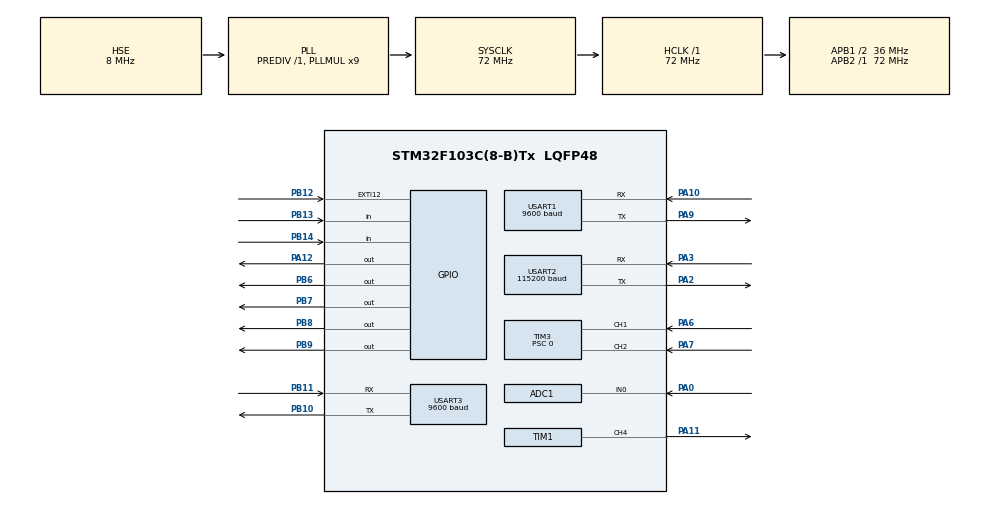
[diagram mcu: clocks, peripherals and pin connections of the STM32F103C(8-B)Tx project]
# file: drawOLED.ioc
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ADC1.Channel-0\#ChannelRegularConversion=ADC_CHANNEL_0
ADC1.NbrOfConversionFlag=1
ADC1.Rank-0\#ChannelRegularConversion=1
ADC1.SamplingTime-0\#ChannelRegularConversion=ADC_SAMPLETIME_1CYCLE_5
ADC1.master=1
FREERTOS.INCLUDE_xTaskAbortDelay=0
FREERTOS.INCLUDE_xTaskGetHandle=0
FREERTOS.Tasks01=OLED_Draw,-1,256,DrawPic,Default,NULL,Dynamic,NULL,NULL;KeyTask,-1,400,Key,Default,NULL,Dynamic,NULL,NULL;AOLED_Draw,-1,256,ADraw_Pic,Default,NULL,Dynamic,NULL,NULL;AKeyTask,-1,400,AKey,Default,NULL,Dynamic,NULL,NULL;JudgeWin,2,256,Judgewhowin,Default,NULL,Dynamic,NULL,NULL;BuzzerPlay,0,128,Playmusic,Default,NULL,Dynamic,NULL,NULL;WakeUp,2,128,GetwakeupFlag,Default,NULL,Dynamic,NULL,NULL
FREERTOS.configCHECK_FOR_STACK_OVERFLOW=2
FREERTOS.configTICK_RATE_HZ=1000
FREERTOS.configTOTAL_HEAP_SIZE=11000
FREERTOS.configUSE_IDLE_HOOK=1
Mcu.Family=STM32F1
Mcu.Name=STM32F103C(8-B)Tx
Mcu.Package=LQFP48
NVIC.EXTI15_10_IRQn=true\:5\:0\:false\:false\:true\:true\:true\:true\:true
NVIC.PriorityGroup=NVIC_PRIORITYGROUP_4
NVIC.TIM4_IRQn=true\:15\:0\:false\:false\:true\:false\:false\:true\:true
NVIC.TimeBase=TIM4_IRQn
NVIC.TimeBaseIP=TIM4
NVIC.USART1_IRQn=true\:5\:0\:false\:false\:true\:true\:true\:true\:true
NVIC.USART3_IRQn=true\:5\:0\:true\:false\:true\:true\:true\:true\:true
PA0-WKUP.Signal=ADCx_IN0
PA10.Mode=Asynchronous
PA10.Signal=USART1_RX
PA11.Signal=S_TIM1_CH4
PA12.GPIO_ModeDefaultOutputPP=GPIO_MODE_OUTPUT_OD
PA12.GPIO_PuPd=GPIO_NOPULL
PA12.PinState=GPIO_PIN_SET
PA12.Signal=GPIO_Output
PA13.Mode=Serial_Wire
PA13.Signal=SYS_JTMS-SWDIO
PA14.Mode=Serial_Wire
PA14.Signal=SYS_JTCK-SWCLK
PA2.Mode=Asynchronous
PA2.Signal=USART2_TX
PA3.GPIO_PuPd=GPIO_NOPULL
PA3.Mode=Asynchronous
PA3.Signal=USART2_RX
PA6.Signal=S_TIM3_CH1
PA7.Signal=S_TIM3_CH2
PA9.Mode=Asynchronous
PA9.Signal=USART1_TX
PB10.Mode=Asynchronous
PB10.Signal=USART3_TX
PB11.Mode=Asynchronous
PB11.Signal=USART3_RX
PB12.GPIO_ModeDefaultEXTI=GPIO_MODE_IT_RISING
PB12.GPIO_PuPd=GPIO_PULLDOWN
PB12.Signal=GPXTI12
PB13.GPIO_PuPd=GPIO_PULLDOWN
PB13.Signal=GPIO_Input
PB14.GPIO_PuPd=GPIO_PULLDOWN
PB14.Signal=GPIO_Input
PB6.GPIO_ModeDefaultOutputPP=GPIO_MODE_OUTPUT_OD
PB6.GPIO_PuPd=GPIO_NOPULL
PB6.PinState=GPIO_PIN_SET
PB6.Signal=GPIO_Output
PB7.GPIO_ModeDefaultOutputPP=GPIO_MODE_OUTPUT_OD
PB7.GPIO_PuPd=GPIO_NOPULL
PB7.PinState=GPIO_PIN_SET
PB7.Signal=GPIO_Output
PB8.GPIO_ModeDefaultOutputPP=GPIO_MODE_OUTPUT_OD
PB8.GPIO_PuPd=GPIO_NOPULL
PB8.PinState=GPIO_PIN_SET
PB8.Signal=GPIO_Output
PB9.GPIO_ModeDefaultOutputPP=GPIO_MODE_OUTPUT_OD
PB9.GPIO_PuPd=GPIO_NOPULL
PB9.PinState=GPIO_PIN_SET
PB9.Signal=GPIO_Output
PC14-OSC32_IN.Mode=LSE-External-Oscillator
PC14-OSC32_IN.Signal=RCC_OSC32_IN
PC15-OSC32_OUT.Mode=LSE-External-Oscillator
PC15-OSC32_OUT.Signal=RCC_OSC32_OUT
PD0-OSC_IN.Mode=HSE-External-Oscillator
PD0-OSC_IN.Signal=RCC_OSC_IN
PD1-OSC_OUT.Mode=HSE-External-Oscillator
PD1-OSC_OUT.Signal=RCC_OSC_OUT
ProjectManager.HeapSize=0x200
ProjectManager.StackSize=0x400
ProjectManager.TargetToolchain=MDK-ARM V5.32
RCC.ADCPresc=RCC_ADCPCLK2_DIV6
RCC.AHBFreq_Value=72000000
RCC.APB1CLKDivider=RCC_HCLK_DIV2
RCC.APB1Freq_Value=36000000
RCC.APB1TimFreq_Value=72000000
RCC.APB2Freq_Value=72000000
RCC.APB2TimFreq_Value=72000000
RCC.HCLKFreq_Value=72000000
RCC.PLLMUL=RCC_PLL_MUL9
RCC.PLLSourceVirtual=RCC_PLLSOURCE_HSE
RCC.SYSCLKFreq_VALUE=72000000
RCC.SYSCLKSource=RCC_SYSCLKSOURCE_PLLCLK
RCC.USBFreq_Value=72000000
SH.ADCx_IN0.0=ADC1_IN0,IN0
SH.S_TIM1_CH4.0=TIM1_CH4,PWM Generation4 CH4
SH.S_TIM3_CH1.0=TIM3_CH1,Encoder_Interface
SH.S_TIM3_CH2.0=TIM3_CH2,Encoder_Interface
TIM1.AutoReloadPreload=TIM_AUTORELOAD_PRELOAD_ENABLE
TIM1.Channel-PWM\ Generation4\ CH4=TIM_CHANNEL_4
TIM1.Period=999
TIM1.Prescaler=71
TIM3.EncoderMode=TIM_ENCODERMODE_TI12
TIM3.Period=65535
TIM3.Prescaler=0
USART1.BaudRate=9600
USART1.VirtualMode=VM_ASYNC
USART2.BaudRate=115200
USART2.VirtualMode=VM_ASYNC
USART3.BaudRate=9600
USART3.VirtualMode=VM_ASYNC
VP_FREERTOS_VS_CMSIS_V1.Mode=CMSIS_V1
VP_SYS_VS_tim4.Mode=TIM4
board=custom

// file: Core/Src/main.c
/* USER CODE BEGIN Header */
/**
  ******************************************************************************
  * @file           : main.c
  * @brief          : Main program body
  ******************************************************************************
  * @attention
  *
  * Copyright (c) 2025 STMicroelectronics.
  * All rights reserved.
  *
  * This software is licensed under terms that can be found in the LICENSE file
  * in the root directory of this software component.
  * If no LICENSE file comes with this software, it is provided AS-IS.
  *
  ******************************************************************************
  */
/* USER CODE END Header */
#include "main.h"
#include "cmsis_os.h"
#include "adc.h"
#include "tim.h"
#include "usart.h"
#include "gpio.h"

/* USER CODE BEGIN Includes */
#include "OLED.h"
#include "AOLED.h"
#include "winrecord.h"
#include "OLED_Data.h"
#include "String.h"
#include "Wifi.h"
/* USER CODE END Includes */

/* USER CODE BEGIN PV */

uint32_t Nowwakeup_Time = 0;
uint32_t Lastwakeup_Time = 0;
uint8_t Player1[32] = {0};
uint8_t Player2[32] = {0};
uint8_t ChoseDoneFlag = 0;
uint8_t AChoseDoneFlag = 0;
uint8_t Tempbuffer[4] = {0};
uint8_t ATempbuffer[4] = {0};
uint8_t OnePMode = 0;
uint8_t P1XMax = 0;
uint8_t ChoseModeFlag = 0;
extern uint8_t Buffer[4];
extern uint8_t ABuffer[4];

/* USER CODE END PV */

void SystemClock_Config(void);
void MX_FREERTOS_Init(void);

int main(void)
{

  /* MCU Configuration--------------------------------------------------------*/

  /* Reset of all peripherals, Initializes the Flash interface and the Systick. */
  HAL_Init();

  /* Configure the system clock */
  SystemClock_Config();

  /* Initialize all configured peripherals */
  MX_GPIO_Init();
  MX_TIM1_Init();
  MX_USART1_UART_Init();
  MX_ADC1_Init();
  MX_USART3_UART_Init();
  MX_USART2_UART_Init();
  MX_TIM3_Init();
  /* USER CODE BEGIN 2 */

	OLED_Init();
	AOLED_Init();
	HAL_TIM_PWM_Start(&htim1,TIM_CHANNEL_4);
	HAL_TIM_Encoder_Start(&htim3, TIM_CHANNEL_ALL);
	HAL_UART_IRQHandler(&huart3);
	HAL_UART_IRQHandler(&huart1);
	HAL_UART_IRQHandler(&huart2);
	HAL_NVIC_EnableIRQ(EXTI15_10_IRQn);

	WinRecord currentRecord;
  LoadWinRecord(&currentRecord);
	if (currentRecord.player1Wins == 0xFFFF || currentRecord.player2Wins == 0xFFFF) {
        currentRecord.player1Wins = 0;
				currentRecord.player2Wins = 0;
        SaveWinRecord(&currentRecord); // 首次保存默认值
    }
	while(!ChoseModeFlag)
	{
		OLED_Printf(10, 20, OLED_6X8, "Choose your Mode");
		AOLED_Printf(10, 20, AOLED_6X8, "Choose your Mode");
		OLED_Update();
		AOLED_Update();
		if(HAL_GPIO_ReadPin(GPIOB,GPIO_PIN_13) == SET)
		{
			HAL_Delay(50);
			if(HAL_GPIO_ReadPin(GPIOB,GPIO_PIN_13) == SET)
			{
				OnePMode = 1;//单人模式
				P1XMax = 238;
				ChoseModeFlag = 1;
			}
		}
		else if(HAL_GPIO_ReadPin(GPIOB,GPIO_PIN_14) == SET)
		{
			HAL_Delay(50);
			if(HAL_GPIO_ReadPin(GPIOB,GPIO_PIN_14) == SET)
			{
				OnePMode = 2;//双人模式
				P1XMax = 110;
				ChoseModeFlag = 1;
			}
		}
	}
	OLED_Clear();
	AOLED_Clear();
	OLED_Update();
	AOLED_Update();
	while(!ChoseDoneFlag)
	{
		OLED_Printf(10, 20, OLED_6X8, "P1 choose roles");
		AOLED_Printf(10, 20, AOLED_6X8, "P1 choose roles");
		OLED_Update();
		AOLED_Update();
		HAL_UART_Receive_IT(&huart3,Buffer,sizeof(Buffer));

		if(Buffer[0] == 0x20 && Buffer[3] == 0x61 )
		{
			if(Buffer[1] == 0x01 && Buffer[2] == 0x02)
			{
				memcpy(Player1, people1, 32);
				ChoseDoneFlag = 1;
				HAL_UART_Transmit(&huart3, Buffer, sizeof(Buffer), 100);
			}
			else if(Buffer[1] == 0x01 && Buffer[2] == 0x03)
			{
				memcpy(Player1, people2, 32);
				ChoseDoneFlag = 1;
				HAL_UART_Transmit(&huart3, Buffer, sizeof(Buffer), 100);
			}

		}
	}
	while(!AChoseDoneFlag)
	{
		OLED_Printf(10, 20, OLED_6X8, "P2 choose roles");
		AOLED_Printf(10, 20, AOLED_6X8, "P2 choose roles");
		OLED_Update();
		AOLED_Update();
		HAL_UART_Receive_IT(&huart1,ABuffer,sizeof(ABuffer));

		if(ABuffer[0] == 0x20 && ABuffer[3] == 0x61 )
		{
			if(ABuffer[1] == 0x02 && ABuffer[2] == 0x02)
			{
				memcpy(Player2, people1, 32);
				AChoseDoneFlag = 1;
				HAL_UART_Transmit(&huart1, ABuffer, sizeof(ABuffer), 100);
			}
			else if(ABuffer[1] == 0x02 && ABuffer[2] == 0x03)
			{
				memcpy(Player2, people2, 32);
				AChoseDoneFlag = 1;
				HAL_UART_Transmit(&huart1, ABuffer, sizeof(ABuffer), 100);
			}

		}
	}

	OLED_Clear();
	AOLED_Clear();
	OLED_Printf(44, 20, OLED_6X8, "Welcome");
	OLED_Printf(2, 40, OLED_6X8, "Press Button to start");
	OLED_Printf(46, 56, OLED_6X8, " %d : %d",(int)currentRecord.player1Wins,(int)currentRecord.player2Wins);
	OLED_Update();
	AOLED_Printf(44, 20, AOLED_6X8, "Welcome");
	AOLED_Printf(2, 40, AOLED_6X8, "Press Button to start");
	AOLED_Printf(46, 56, AOLED_6X8, " %d : %d",(int)currentRecord.player1Wins,(int)currentRecord.player2Wins);
	AOLED_Update();
	while(HAL_GPIO_ReadPin(GPIOB,GPIO_PIN_12) == RESET){}
  /* USER CODE END 2 */

  /* Call init function for freertos objects (in cmsis_os2.c) */
  MX_FREERTOS_Init();

  /* Start scheduler */
  osKernelStart();

  /* We should never get here as control is now taken by the scheduler */

  /* Infinite loop */
  while (1)
  {

  }
}

void SystemClock_Config(void)
{
  RCC_OscInitTypeDef RCC_OscInitStruct = {0};
  RCC_ClkInitTypeDef RCC_ClkInitStruct = {0};
  RCC_PeriphCLKInitTypeDef PeriphClkInit = {0};

  /** Initializes the RCC Oscillators according to the specified parameters
  * in the RCC_OscInitTypeDef structure.
  */
  RCC_OscInitStruct.OscillatorType = RCC_OSCILLATORTYPE_HSE;
  RCC_OscInitStruct.HSEState = RCC_HSE_ON;
  RCC_OscInitStruct.HSEPredivValue = RCC_HSE_PREDIV_DIV1;
  RCC_OscInitStruct.HSIState = RCC_HSI_ON;
  RCC_OscInitStruct.PLL.PLLState = RCC_PLL_ON;
  RCC_OscInitStruct.PLL.PLLSource = RCC_PLLSOURCE_HSE;
  RCC_OscInitStruct.PLL.PLLMUL = RCC_PLL_MUL9;
  if (HAL_RCC_OscConfig(&RCC_OscInitStruct) != HAL_OK)
  {
    Error_Handler();
  }

  /** Initializes the CPU, AHB and APB buses clocks
  */
  RCC_ClkInitStruct.ClockType = RCC_CLOCKTYPE_HCLK|RCC_CLOCKTYPE_SYSCLK
                              |RCC_CLOCKTYPE_PCLK1|RCC_CLOCKTYPE_PCLK2;
  RCC_ClkInitStruct.SYSCLKSource = RCC_SYSCLKSOURCE_PLLCLK;
  RCC_ClkInitStruct.AHBCLKDivider = RCC_SYSCLK_DIV1;
  RCC_ClkInitStruct.APB1CLKDivider = RCC_HCLK_DIV2;
  RCC_ClkInitStruct.APB2CLKDivider = RCC_HCLK_DIV1;

  if (HAL_RCC_ClockConfig(&RCC_ClkInitStruct, FLASH_LATENCY_2) != HAL_OK)
  {
    Error_Handler();
  }
  PeriphClkInit.PeriphClockSelection = RCC_PERIPHCLK_ADC;
  PeriphClkInit.AdcClockSelection = RCC_ADCPCLK2_DIV6;
  if (HAL_RCCEx_PeriphCLKConfig(&PeriphClkInit) != HAL_OK)
  {
    Error_Handler();
  }
}

void HAL_TIM_PeriodElapsedCallback(TIM_HandleTypeDef *htim)
{
  if (htim->Instance == TIM4) {
    HAL_IncTick();
  }
}

void Error_Handler(void)
{
  __disable_irq();
  while (1)
  {
  }
}

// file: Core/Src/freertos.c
/* USER CODE BEGIN Header */
/**
  ******************************************************************************
  * File Name          : freertos.c
  * Description        : Code for freertos applications
  ******************************************************************************
  * @attention
  *
  * Copyright (c) 2025 STMicroelectronics.
  * All rights reserved.
  *
  * This software is licensed under terms that can be found in the LICENSE file
  * in the root directory of this software component.
  * If no LICENSE file comes with this software, it is provided AS-IS.
  *
  ******************************************************************************
  */
/* USER CODE END Header */

#include "FreeRTOS.h"
#include "task.h"
#include "main.h"
#include "cmsis_os.h"

/* USER CODE BEGIN Includes */
#include "AOLED.h"
#include "OLED.h"
#include "Information.h"
#include <stdint.h>
#include <string.h>
#include "winrecord.h"
#include "usart.h"
#include "wifi.h"
#include "adc.h"
#include "tim.h"
#include "ShareStruct.h"

/* USER CODE END Includes */

/* USER CODE BEGIN Variables */
extern void SystemClock_Config(void);
uint8_t LowPowerFlag = 0;
WinRecord record;
extern uint8_t OnePMode;
extern uint8_t P1XMax;
uint8_t OnePState = 0;
int16_t PWM = 0;
uint8_t Buffer[4];
uint8_t ABuffer[4];
uint16_t LightControl = 0;
extern TIM_HandleTypeDef htim1;
extern UART_HandleTypeDef huart1;
QueueHandle_t AKeyQueue = NULL;
QueueHandle_t KeyQueue = NULL;
int16_t people1X = 0;
int16_t people1Y = 46;
int16_t people2X = 0;
int16_t people2Y = 46;
uint8_t temp = 0; //人物一跳跃高度计数变量
uint8_t Atemp = 0; //人物二跳跃高度计数变量
SemaphoreHandle_t P1Mutex = NULL; //人物一动作与画图互斥锁
SemaphoreHandle_t P2Mutex = NULL; //人物二动作与画图互斥锁
int HP = 3;
int AHP = 3;
extern Information platforms1[];
extern Information platforms2[];
extern Information platforms3[];
extern Information platforms4[];
extern Information platforms5[];
extern Information platforms6[];
extern Information thorns1[];
extern Information thorns4[];
extern Information thorns5[];
uint8_t gameover = 0; //双人模式人物一游戏结束标志
uint8_t Agameover = 0; //双人模式人物二游戏结束标志
uint8_t OPgameover = 0; //单人模式角色游戏结束标志
uint32_t lasttick = 0;
uint32_t nowtick = 0;
uint32_t Alasttick = 0;
uint32_t Anowtick = 0;
uint8_t State = 0; //关卡检测
static uint8_t Aflag = 0; //人物二第五关移动平台检测标志
static uint8_t flag = 0; //人物一第五关移动平台检测标志
Information moveplatform = {5,25,16,16};
Information Amoveplatform = {5,25,16,16};
Information OPM_moveplatform = {5,50,16,16};
int winround = 0; //人物一单局胜利关卡数
int Awinround = 0; //人物二单局胜利关卡数
uint8_t Whowin = 0; //判断是谁获胜
uint8_t wakeup_flag = 1; //屏幕唤醒标志
extern uint32_t Nowwakeup_Time;
extern uint32_t Lastwakeup_Time;
uint8_t RX_Buffer[4] = {0};
uint8_t ARX_Buffer[4] = {0};
extern uint8_t Player1[32];
extern uint8_t Player2[32];
/* USER CODE END Variables */
osThreadId OLED_DrawHandle;
osThreadId KeyTaskHandle;
osThreadId AOLED_DrawHandle;
osThreadId AKeyTaskHandle;
osThreadId JudgeWinHandle;
osThreadId BuzzerPlayHandle;
osThreadId WakeUpHandle;

/* USER CODE BEGIN FunctionPrototypes */
uint8_t JudgePlace(uint8_t peopleX, uint8_t peopleY ,Information *platforms ,uint8_t platformCount);
uint8_t JudgeThorns(uint8_t peopleX, uint8_t peopleY);
uint8_t Judgethrough (uint8_t peopleX, uint8_t peopleY ,Information *platforms ,uint8_t platformCount);
void LoadWinRecord(WinRecord *record);
void SaveWinRecord(WinRecord *record);
/* USER CODE END FunctionPrototypes */

void DrawPic(void const * argument);
void Key(void const * argument);
void ADraw_Pic(void const * argument);
void AKey(void const * argument);
void Judgewhowin(void const * argument);
void Playmusic(void const * argument);
void GetwakeupFlag(void const * argument);

void MX_FREERTOS_Init(void); /* (MISRA C 2004 rule 8.1) */

/* GetIdleTaskMemory prototype (linked to static allocation support) */
void vApplicationGetIdleTaskMemory( StaticTask_t **ppxIdleTaskTCBBuffer, StackType_t **ppxIdleTaskStackBuffer, uint32_t *pulIdleTaskStackSize );

/* Hook prototypes */
void vApplicationIdleHook(void);
void vApplicationStackOverflowHook(xTaskHandle xTask, signed char *pcTaskName);

/* USER CODE BEGIN 2 */
__weak void vApplicationIdleHook( void ) //低功耗启动函数
{
   /* vApplicationIdleHook() will only be called if configUSE_IDLE_HOOK is set
   to 1 in FreeRTOSConfig.h. It will be called on each iteration of the idle
   task. It is essential that code added to this hook function never attempts
   to block in any way (for example, call xQueueReceive() with a block time
   specified, or call vTaskDelay()). If the application makes use of the
   vTaskDelete() API function (as this demo application does) then it is also
   important that vApplicationIdleHook() is permitted to return to its calling
   function, because it is the responsibility of the idle task to clean up
   memory allocated by the kernel to any task that has since been deleted. */
	if(Nowwakeup_Time - Lastwakeup_Time > 15000)
	{
		LowPowerFlag = 1;
	}
	if(LowPowerFlag)
	{
		HAL_SuspendTick(); // 停止TIM4
    HAL_PWR_EnterSTOPMode(PWR_LOWPOWERREGULATOR_ON, PWR_STOPENTRY_WFI); //进入低功耗stop模式
    SystemClock_Config(); // 恢复时钟
    HAL_ResumeTick();    // 恢复 Tick 中断

		Lastwakeup_Time = Nowwakeup_Time;
	}

}
/* USER CODE END 2 */

/* USER CODE BEGIN 4 */
__weak void vApplicationStackOverflowHook(xTaskHandle xTask, signed char *pcTaskName) //栈溢出检测
{
   /* Run time stack overflow checking is performed if
   configCHECK_FOR_STACK_OVERFLOW is defined to 1 or 2. This hook function is
   called if a stack overflow is detected. */
	HAL_GPIO_WritePin(GPIOA,GPIO_PIN_12,GPIO_PIN_RESET);
}
/* USER CODE END 4 */

/* USER CODE BEGIN GET_IDLE_TASK_MEMORY */
static StaticTask_t xIdleTaskTCBBuffer;
static StackType_t xIdleStack[configMINIMAL_STACK_SIZE];

void vApplicationGetIdleTaskMemory( StaticTask_t **ppxIdleTaskTCBBuffer, StackType_t **ppxIdleTaskStackBuffer, uint32_t *pulIdleTaskStackSize )
{
  *ppxIdleTaskTCBBuffer = &xIdleTaskTCBBuffer;
  *ppxIdleTaskStackBuffer = &xIdleStack[0];
  *pulIdleTaskStackSize = configMINIMAL_STACK_SIZE;
  /* place for user code */
}
/* USER CODE END GET_IDLE_TASK_MEMORY */

void MX_FREERTOS_Init(void) {
  /* USER CODE BEGIN Init */
	lasttick = HAL_GetTick();
  /* USER CODE END Init */

  /* USER CODE BEGIN RTOS_QUEUES */
  /* add queues, ... */

	//xSemaphoreGive(P1YBinary);
	P1Mutex = xSemaphoreCreateMutex();
	KeyQueue = xQueueCreate(4,sizeof(KeyEvent_t));
	AKeyQueue = xQueueCreate(4,sizeof(KeyEvent_t));
	P2Mutex = xSemaphoreCreateMutex();

  /* USER CODE END RTOS_QUEUES */

  /* Create the thread(s) */
  /* definition and creation of OLED_Draw */
  osThreadDef(OLED_Draw, DrawPic, osPriorityBelowNormal, 0, 256);
  OLED_DrawHandle = osThreadCreate(osThread(OLED_Draw), NULL);

  /* definition and creation of KeyTask */
  osThreadDef(KeyTask, Key, osPriorityBelowNormal, 0, 400);
  KeyTaskHandle = osThreadCreate(osThread(KeyTask), NULL);

  /* definition and creation of AOLED_Draw */
  osThreadDef(AOLED_Draw, ADraw_Pic, osPriorityBelowNormal, 0, 256);
  AOLED_DrawHandle = osThreadCreate(osThread(AOLED_Draw), NULL);

  /* definition and creation of AKeyTask */
  osThreadDef(AKeyTask, AKey, osPriorityBelowNormal, 0, 400);
  AKeyTaskHandle = osThreadCreate(osThread(AKeyTask), NULL);

  /* definition and creation of JudgeWin */
  osThreadDef(JudgeWin, Judgewhowin, osPriorityHigh, 0, 256);
  JudgeWinHandle = osThreadCreate(osThread(JudgeWin), NULL);

  /* definition and creation of BuzzerPlay */
  osThreadDef(BuzzerPlay, Playmusic, osPriorityNormal, 0, 128);
  BuzzerPlayHandle = osThreadCreate(osThread(BuzzerPlay), NULL);

  /* definition and creation of WakeUp */
  osThreadDef(WakeUp, GetwakeupFlag, osPriorityHigh, 0, 128);
  WakeUpHandle = osThreadCreate(osThread(WakeUp), NULL);

}

void DrawPic(void const * argument) //人物一画图任务：判断现在游戏模式->亮度检测->判断关卡->画图
{
  /* USER CODE BEGIN DrawPic */

  /* Infinite loop */
  for(;;)
  {

				OLED_Update();
		if(wakeup_flag == 1 && OnePMode == 2)
		{
			 OLED_WriteCommand(0x81);
			LightControl = LightSensor_GetValue()*255/4095;
     OLED_WriteCommand(LightControl);

			if (xSemaphoreTake(P1Mutex, 100) == pdTRUE) {

				if(State == 0)
				{
					OLED_Clear();
				for (uint8_t i = 0; i < sizeof(platforms2)/sizeof(platforms2[0]); i++) {
      Information p = platforms2[i];
      OLED_ShowImage(p.x, p.y, p.width, p.height, platform);
  }
				OLED_ShowImage(124,34,4,16,Door);

				OLED_ShowImage(people1X,people1Y,16,16,Player2);
				OLED_Printf(100,0,OLED_6X8,"HP:%d",HP);

				OLED_Update();
				xSemaphoreGive(P1Mutex);
				}
				else if(State == 1)
				{
					OLED_Clear();
				for (uint8_t i = 0; i < sizeof(platforms3)/sizeof(platforms3[0]); i++) {
      Information p = platforms3[i];
      OLED_ShowImage(p.x, p.y, p.width, p.height, platform);
  }
				OLED_ShowImage(124,34,4,16,Door);

				OLED_ShowImage(people1X,people1Y,16,16,Player2);
				OLED_Printf(100,0,OLED_6X8,"HP:%d",HP);
				OLED_Update();
				xSemaphoreGive(P1Mutex);
				}
				else if(State == 2)
				{
					OLED_Clear();
				for (uint8_t i = 0; i < sizeof(platforms4)/sizeof(platforms4[0]); i++) {
      Information p = platforms4[i];
      OLED_ShowImage(p.x, p.y, p.width, p.height, platform);
  }
				OLED_ShowImage(124,34,4,16,Door);
				OLED_ShowImage(80,43,4,2,thorn);
				OLED_ShowImage(people1X,people1Y,16,16,Player2);
				OLED_Printf(100,0,OLED_6X8,"HP:%d",HP);
				OLED_Update();
				xSemaphoreGive(P1Mutex);
				}
				else if(State == 3)
				{
					OLED_Clear();
				for (uint8_t i = 0; i < sizeof(platforms1)/sizeof(platforms1[0]); i++) {
      Information p = platforms1[i];
      OLED_ShowImage(p.x, p.y, p.width, p.height, platform);
  }
				OLED_ShowImage(124,34,4,16,Door);
				OLED_ShowImage(18,62,4,2,thorn);
				OLED_ShowImage(people1X,people1Y,16,16,Player2);
				OLED_Printf(100,0,OLED_6X8,"HP:%d",HP);
				OLED_Update();
				xSemaphoreGive(P1Mutex);
				}
				else if(State == 4)
				{
				 OLED_Clear();
		for (uint8_t i = 0; i < sizeof(platforms5)/sizeof(platforms5[0]); i++) {
      Information p = platforms5[i];
      OLED_ShowImage(p.x, p.y, p.width, p.height, platform);

  }
		for (uint8_t i = 0; i < sizeof(thorns5)/sizeof(thorns5[0]); i++) {
      Information p = thorns5[i];
      OLED_ShowImage(p.x, p.y, p.width, p.height, thorn);

  }
			OLED_ShowImage(moveplatform.x, 25, 16, 16, platform);
			if(moveplatform.x == 110)
			{
				flag = 1;
			}
			else if(moveplatform.x == 5)
			{
				flag = 0;
			}
			if(flag == 0)
			{
				moveplatform.x += 1;
			}
			else
			{
				moveplatform.x -= 1;
			}
				OLED_ShowImage(124,34,4,16,Door);
				OLED_ShowImage(people1X,people1Y,16,16,Player2);
				OLED_Printf(100,0,OLED_6X8,"HP:%d",HP);

				OLED_Update();
				xSemaphoreGive(P1Mutex);
				}
			}

		}

			else if(wakeup_flag == 1 && OnePMode == 1)
		{
			OLED_WriteCommand(0x81);
			uint16_t i = LightSensor_GetValue()*255/4095;
			OLED_WriteCommand(i);
			if (xSemaphoreTake(P1Mutex, 100) == pdTRUE) {

					OLED_Clear();
				for (uint8_t i = 0; i < sizeof(platforms6)/sizeof(platforms6[0]); i++) {
      Information p = platforms6[i];
			if(p.x > 128)
			{
				OLED_ShowImage(p.x - 128, p.y, p.width, p.height, platform);
			}
  }
				OLED_ShowImage(OPM_moveplatform.x, 50, 16, 16, platform);
			if(OPM_moveplatform.x == 110)
			{
				flag = 1;
			}
			else if(OPM_moveplatform.x == 5)
			{
				flag = 0;
			}
			if(flag == 0)
			{
				OPM_moveplatform.x += 1;
			}
			else
			{
				OPM_moveplatform.x -= 1;
			}
				OLED_ShowImage(124,34,4,16,Door);
				if(people1X > 128)
				{
					OLED_ShowImage(people1X - 128,people1Y,16,16,Player2);
				}
				OLED_Printf(100,0,OLED_6X8,"HP:%d",HP);
				OLED_Update();
				xSemaphoreGive(P1Mutex);

		}
	}
    osDelay(1);
  }
  /* USER CODE END DrawPic */
}

void Key(void const * argument) //人物一动作控制任务->判断当前游戏模式->配合串口中断使用switch-case语句判断人物动作
{
  /* USER CODE BEGIN Key */

  KeyEvent_t Keyevent;

  /* Infinite loop */
  for(;;)
  {

		if(OnePMode == 2)
		{
			nowtick = HAL_GetTick();
    if(people1Y > 46)  //落地扣血逻辑
		{

			if(nowtick - lasttick >= 2500 )
						{

							HP--;
							lasttick = nowtick;
						}

		}
		if(HP == 0)
		{
			gameover = 1;
		}
			Nowwakeup_Time = HAL_GetTick();
		if(xQueueReceive(KeyQueue, &Keyevent, pdMS_TO_TICKS(100)) == pdPASS)
	 {
			if(xSemaphoreTake(P1Mutex,pdMS_TO_TICKS(100)) == pdTRUE)
		{
      Lastwakeup_Time = Nowwakeup_Time;

				switch(Keyevent.keyID)
			{

				case 5:
					if(State == 0)
					{
						if(people1X <= P1XMax && Judgethrough(people1X,people1Y,platforms2,sizeof(platforms2)/sizeof(platforms2[0])) == 0)
					 {
						people1X +=5;
					 }
					}
					else if(State == 1)
					{
						if(people1X <= P1XMax && Judgethrough(people1X,people1Y,platforms3,sizeof(platforms3)/sizeof(platforms3[0])) == 0)
					 {
						people1X +=5;
					 }
					}
					else if(State == 2)
					{
						if(people1X <= P1XMax && Judgethrough(people1X,people1Y,platforms4,sizeof(platforms4)/sizeof(platforms4[0])) == 0)
					 {
						people1X +=5;
					 }
					}
					else if(State == 3)
					{
						if(people1X <= P1XMax && Judgethrough(people1X,people1Y,platforms1,sizeof(platforms1)/sizeof(platforms1[0])) == 0)
					 {
						people1X +=5;
					 }
					}
					else if(State == 4)
					{
						if(people1X <= P1XMax && Judgethrough(people1X,people1Y,platforms5,sizeof(platforms5)/sizeof(platforms5[0])) == 0)
					 {
						people1X +=5;
					 }
					}
					if(JudgeThorns(people1X,people1Y) == 1)//踩到刺扣血
				{
					nowtick = HAL_GetTick();

					if(nowtick - lasttick >=1500 )
						{
							HP--;
							lasttick = nowtick;
						}
				}
				if(HP == 0)
				{
					gameover = 1;

				}

					break;
				case 4:
					if(people1X > 0)
					{
						people1X -=5;
					}
					;

					break;
				case 6:
					if(temp <= 20)
					{
						people1Y -= 5;
						temp += 5;
						break;
					}
					else
					{
						people1Y += 2;
					}
			}

		}
			xSemaphoreGive(P1Mutex);
		}

		 else  //下落到平台逻辑
		 {

			 if(State == 0)
			{
				if(people1Y < 48 && (JudgePlace(people1X,people1Y, platforms2 , sizeof(platforms2)/sizeof(platforms2[0])) == 0))
		    {

			  people1Y += 2;
		    }
			}
			  else if(State == 1)
			{
					if(people1Y < 48 && (JudgePlace(people1X,people1Y, platforms3 , sizeof(platforms3)/sizeof(platforms3[0])) == 0))
		    {

			  people1Y += 2;
		    }
			}
			else if(State == 2)
			{
					if(people1Y < 48 && (JudgePlace(people1X,people1Y, platforms4 , sizeof(platforms4)/sizeof(platforms4[0])) == 0))
		    {

			  people1Y += 2;
		    }
			}
			else if(State == 3)
			{
					if(people1Y < 48 && (JudgePlace(people1X,people1Y, platforms1 , sizeof(platforms1)/sizeof(platforms1[0])) == 0))
		    {

			  people1Y += 2;
		    }
			}
			else if(State == 4)
			{
					if(people1Y < 48 && (JudgePlace(people1X,people1Y, platforms5 , sizeof(platforms5)/sizeof(platforms5[0])) == 0))
		    {

			  people1Y += 2;
		    }
			}
		  temp = 0;
		 }
		}
		else if(OnePMode == 1)
		{
			nowtick = HAL_GetTick();
    if(people1Y > 46)
		{

			if(nowtick - lasttick >= 2500 )
						{

							HP--;
							lasttick = nowtick;
						}

		}
		if(HP == 0)
		{
			OPgameover = 1;
		}
			Nowwakeup_Time = HAL_GetTick();
		if(xQueueReceive(KeyQueue, &Keyevent, pdMS_TO_TICKS(100)) == pdPASS)
	 {
			if(xSemaphoreTake(P1Mutex,pdMS_TO_TICKS(100)) == pdTRUE)
		{
      Lastwakeup_Time = Nowwakeup_Time;

				switch(Keyevent.keyID)
			{

				case 5:
					if(OnePState == 0)
					{
						if(people1X <= P1XMax && Judgethrough(people1X,people1Y,platforms6,sizeof(platforms6)/sizeof(platforms6[0])) == 0)
					 {
						people1X +=5;
					 }

					}

					if(JudgeThorns(people1X,people1Y) == 1)
				{
					nowtick = HAL_GetTick();
					if(HP == 3)
					{
						HP--;
					}
					else
					{
						if(nowtick - lasttick >=1500 )
						{
							HP--;
							lasttick = nowtick;
						}

					}
				}
				if(HP == 0)
				{
					gameover = 1;

				}

					break;
				case 4:
					if(people1X > 0)
					{
						people1X -=5;
					}
					break;
				case 6:
					if(temp <= 20)
					{
						people1Y -= 5;
						temp += 5;
						break;
					}
					else
					{
						people1Y += 2;
					}
			}

		}
			xSemaphoreGive(P1Mutex);
		}

		 else
		 {

			 if(OnePState == 0)
			{
				if(people1Y < 48 && (JudgePlace(people1X,people1Y, platforms6 , sizeof(platforms6)/sizeof(platforms6[0])) == 0))
		    {

			  people1Y += 2;
		    }
			}

		  temp = 0;
		 }
		}
    osDelay(1);
  }
  /* USER CODE END Key */
}

void ADraw_Pic(void const * argument) //人物二画图函数：判断现在游戏模式->亮度检测->判断关卡->画图
{
  /* USER CODE BEGIN ADraw_Pic */

  /* Infinite loop */
  for(;;)
  {

      if(wakeup_flag == 1 && OnePMode == 2)
		{
		AOLED_WriteCommand(0x81);
    LightControl = LightSensor_GetValue()*255/4095;
    AOLED_WriteCommand(LightControl);

		if(xSemaphoreTake(P2Mutex , pdMS_TO_TICKS(100))== pdTRUE)
		{

			if(State == 0)
			{
			AOLED_Clear();
		for (uint8_t i = 0; i < sizeof(platforms2)/sizeof(platforms2[0]); i++) {
      Information p = platforms2[i];
      AOLED_ShowImage(p.x, p.y, p.width, p.height, platform);
  }

		AOLED_ShowImage(124,34,4,16,Door);
		AOLED_ShowImage(people2X,people2Y,16,16,Player1);
		AOLED_Printf(100,0,AOLED_6X8,"HP:%d",AHP);
		AOLED_Update();
		xSemaphoreGive(P2Mutex);
			}
			else if(State == 1)
			{

			AOLED_Clear();
		for (uint8_t i = 0; i < sizeof(platforms3)/sizeof(platforms3[0]); i++) {
      Information p = platforms3[i];
      AOLED_ShowImage(p.x, p.y, p.width, p.height, platform);
  }

		AOLED_ShowImage(124,34,4,16,Door);
		AOLED_ShowImage(people2X,people2Y,16,16,Player1);
		AOLED_Printf(100,0,AOLED_6X8,"HP:%d",AHP);
		AOLED_Update();
		xSemaphoreGive(P2Mutex);
			}
			else if(State == 2)
			{

			AOLED_Clear();
		for (uint8_t i = 0; i < sizeof(platforms4)/sizeof(platforms4[0]); i++) {
      Information p = platforms4[i];
      AOLED_ShowImage(p.x, p.y, p.width, p.height, platform);
  }

		AOLED_ShowImage(124,34,4,16,Door);
		AOLED_ShowImage(80,43,4,2,thorn);
		AOLED_ShowImage(people2X,people2Y,16,16,Player1);
		AOLED_Printf(100,0,AOLED_6X8,"HP:%d",AHP);
		AOLED_Update();
		xSemaphoreGive(P2Mutex);
			}
  		else if(State == 3)
			{

			AOLED_Clear();
		for (uint8_t i = 0; i < sizeof(platforms1)/sizeof(platforms1[0]); i++) {
      Information p = platforms1[i];
      AOLED_ShowImage(p.x, p.y, p.width, p.height, platform);
  }

		AOLED_ShowImage(124,34,4,16,Door);
		AOLED_ShowImage(18,62,4,2,thorn);
		AOLED_ShowImage(people2X,people2Y,16,16,Player1);
		AOLED_Printf(100,0,AOLED_6X8,"HP:%d",AHP);
		AOLED_Update();
		xSemaphoreGive(P2Mutex);
			}
			else if(State == 4)
			{

				AOLED_Clear();
		for (uint8_t i = 0; i < sizeof(platforms5)/sizeof(platforms5[0]); i++) {
      Information p = platforms5[i];
      AOLED_ShowImage(p.x, p.y, p.width, p.height, platform);

  }
		for (uint8_t i = 0; i < sizeof(thorns5)/sizeof(thorns5[0]); i++) {
      Information p = thorns5[i];
      AOLED_ShowImage(p.x, p.y, p.width, p.height, thorn);

  }
			AOLED_ShowImage(moveplatform.x, 25, 16, 16, platform);
			if(Amoveplatform.x == 110)
			{
				Aflag = 1;
			}
			else if(Amoveplatform.x == 5)
			{
				Aflag = 0;
			}
			if(Aflag == 0)
			{
				Amoveplatform.x += 1;
			}
			else
			{
				Amoveplatform.x -= 1;
			}

		AOLED_ShowImage(124,34,4,16,Door);
		AOLED_ShowImage(people2X,people2Y,16,16,Player1);
		AOLED_Printf(100,0,AOLED_6X8,"HP:%d",AHP);
		AOLED_Update();
		xSemaphoreGive(P2Mutex);
			}

	}

	}

			else if(wakeup_flag == 1 && OnePMode == 1)
		{
			AOLED_WriteCommand(0x81);
			uint16_t i = LightSensor_GetValue()*255/4095;
			AOLED_WriteCommand(i);
			if (xSemaphoreTake(P1Mutex, 100) == pdTRUE) {

					AOLED_Clear();
				for (uint8_t i = 0; i < sizeof(platforms6)/sizeof(platforms6[0]); i++) {
      Information p = platforms6[i];
      AOLED_ShowImage(p.x, p.y, p.width, p.height, platform);
  }

				AOLED_ShowImage(people1X,people1Y,16,16,Player2);

				AOLED_Update();
				xSemaphoreGive(P1Mutex);

		}
	}
    osDelay(1);
  }

  /* USER CODE END ADraw_Pic */
}

void AKey(void const * argument) //人物二动作控制任务->配合串口中断使用switch-case语句判断人物动作
{
  /* USER CODE BEGIN AKey */
	KeyEvent_t AKeyevent;

  /* Infinite loop */
  for(;;)
  {
		Anowtick = HAL_GetTick();
		if(people2Y > 46)
		{

			if(Anowtick - Alasttick >= 2500 )
						{

							AHP--;
							Alasttick = Anowtick;
						}

		}
		if(AHP == 0)
		{
			Agameover = 1;
		}
		Nowwakeup_Time = HAL_GetTick();
		if(xQueueReceive(AKeyQueue, &AKeyevent, pdMS_TO_TICKS(100)) == pdPASS)
	 {
			if(xSemaphoreTake(P2Mutex,pdMS_TO_TICKS(100)) == pdTRUE)
		{
       Lastwakeup_Time = Nowwakeup_Time;

				switch(AKeyevent.keyID)
			{

				case 2:

					if(State == 0)
					{
						if(people2X <= 110 && Judgethrough(people2X,people2Y,platforms2,sizeof(platforms2)/sizeof(platforms2[0])) == 0)
					 {
						people2X +=5;
					 }
					}
					else if(State == 1)
					{
						if(people2X <= 110 && Judgethrough(people2X,people2Y,platforms3,sizeof(platforms3)/sizeof(platforms3[0])) == 0)
					 {
						people2X +=5;
					 }
					}
					else if(State == 2)
					{
						if(people2X <= 110 && Judgethrough(people2X,people2Y,platforms4,sizeof(platforms4)/sizeof(platforms4[0])) == 0)
					 {
						people2X +=5;
					 }
					}
					else if(State == 3)
					{
						if(people2X <= 110 && Judgethrough(people2X,people2Y,platforms1,sizeof(platforms1)/sizeof(platforms1[0])) == 0)
					 {
						people2X +=5;
					 }
					}
					else if(State == 4)
					{
						if(people2X <= 110 && Judgethrough(people2X,people2Y,platforms5,sizeof(platforms5)/sizeof(platforms5[0])) == 0)
					 {
						people2X +=5;
					 }
					}
					if(JudgeThorns(people2X,people2Y) == 1)
				{
					Anowtick = HAL_GetTick();

					if(Anowtick - Alasttick >=1500 )
						{
							AHP--;
							Alasttick = Anowtick;
						}
				}
				if(AHP == 0)
				{
					Agameover = 1;

				}

					break;

				case 3:
					if(people2X > 0)
					{
						people2X -=5;
					}

					break;

			  case 1:

					if(Atemp <= 20)
					{
						people2Y -= 5;
						Atemp +=5;

						break;
					}
					else
					{
						people2Y +=2;
					}

			}

		}
			xSemaphoreGive(P2Mutex);
		}
	 else
		 {

			if(State == 0)
			{
				if(people2Y < 48 && (JudgePlace(people2X,people2Y, platforms2 , sizeof(platforms2)/sizeof(platforms2[0])) == 0))
		    {

			  people2Y += 2;
		    }
			}
			  else if(State == 1)
			{
					if(people2Y < 48 && (JudgePlace(people2X,people2Y, platforms3 , sizeof(platforms3)/sizeof(platforms3[0])) == 0))
		    {

			  people2Y += 2;
		    }
			}
			 else if(State == 2)
			{
					if(people2Y < 48 && (JudgePlace(people2X,people2Y, platforms4 , sizeof(platforms4)/sizeof(platforms4[0])) == 0))
		    {

			  people2Y += 2;
		    }
			}
			 else if(State == 3)
			{
					if(people2Y < 48 && (JudgePlace(people2X,people2Y, platforms1 , sizeof(platforms1)/sizeof(platforms1[0])) == 0))
		    {

			  people2Y += 2;
		    }
			}
			 else if(State == 4)
			{
					if(people2Y < 48 && (JudgePlace(people2X,people2Y, platforms5 , sizeof(platforms5)/sizeof(platforms5[0])) == 0))
		    {

			  people2Y += 2;
		    }
			}
		  Atemp = 0;
		 }

    osDelay(1);
  }
  /* USER CODE END AKey */
}

void Judgewhowin(void const * argument) //判断胜利任务 判断当前关卡数->记录数据->擦除图像并画新图->延时后重置人物位置并进入新关卡，若是最后一关则游戏结束并上传数据到flash和物联网
{
  /* USER CODE BEGIN Judgewhowin */
//	uint8_t Whowin = 0;
	uint8_t finalflag = 0;
	uint8_t winflag = 0;

  /* Infinite loop */
  for(;;)
  {
		 if(OnePMode == 1)
		 {
			 if(people1X + 14 > 252 && people1Y > 34 && OnePMode == 1)
	     {
				 OLED_Clear();
				 AOLED_Clear();
				 OLED_Printf(50, 20, OLED_6X8, "WIN!");
				 AOLED_Printf(50, 20, AOLED_6X8, "WIN!");
				 OLED_Update();
				 AOLED_Update();

			 }
			 if(OPgameover && OnePState == 0)
			 {
				  OLED_Clear();
				 AOLED_Clear();
				 OLED_Printf(50, 20, OLED_6X8, "FAIL!");
				 AOLED_Printf(50, 20, AOLED_6X8, "FAIL!");
				 OLED_Update();
				 AOLED_Update();
			 }

		 }
		 if(State == 5)
		 {
			 finalflag = 1;
		 }

    if(finalflag == 0)
		{
			if(people1X + 14 > 124 && people1Y > 34 && OnePMode == 2)
	  {
		  Whowin = 1;
			HP = 3;
			AHP = 3;
			if(Whowin == 1 && winflag == 0)
			{
				winround++;
				winflag = 1;
			}
	  }
		else if(people2X + 14 > 124 && people2Y > 34 && OnePMode == 2)
	  {
		 Whowin = 2;
			HP = 3;
			AHP = 3;
			if(Whowin == 2 && winflag == 0)
			{
				Awinround++;
				winflag = 1;
			}
	  }

		if(gameover)
		{
			Whowin = 2;
			HP = 3;
			AHP = 3;
			gameover = 0;
			Awinround ++;
		}
		else if(Agameover)
		{
			Whowin = 1;
			HP = 3;
			AHP = 3;
			Agameover = 0;
			winround ++;
		}

		if(Whowin == 1)
		{

			OLED_Clear();
			if(State == 0)
			{
				OLED_Printf(44, 20, OLED_6X8, "R1 P1WIN!");

			  OLED_Update();
			}
			else if(State == 1)
			{
				OLED_Printf(44, 20, OLED_6X8, "R2 P1WIN!");

			  OLED_Update();
			}
			else if(State == 2)
			{
				OLED_Printf(44, 20, OLED_6X8, "R3 P1WIN!");

			  OLED_Update();
			}
			else if(State == 3)
			{
				OLED_Printf(44, 20, OLED_6X8, "R4 P1WIN!");

			  OLED_Update();
			}
			else if(State == 4)
			{
				OLED_Printf(44, 20, OLED_6X8, "R5 P1WIN!");

			  OLED_Update();
			}

			AOLED_Clear();
			if(State == 0)
			{
				AOLED_Printf(44, 20, AOLED_6X8, "R1 P1WIN!");

			  AOLED_Update();
			}
			else if(State == 1)
			{
				AOLED_Printf(44, 20, AOLED_6X8, "R2 P1WIN!");

			  AOLED_Update();
			}
			else if(State == 2)
			{
				AOLED_Printf(44, 20, AOLED_6X8, "R3 P1WIN!");

			  AOLED_Update();
			}
			else if(State == 3)
			{
				AOLED_Printf(44, 20, AOLED_6X8, "R4 P1WIN!");

			  AOLED_Update();
			}
			else if(State == 4)
			{
				AOLED_Printf(44, 20, AOLED_6X8, "R5 P1WIN!");

			  AOLED_Update();
			}

		}
		else if(Whowin == 2)
		{

			OLED_Clear();
			if(State == 0)
			{
				OLED_Printf(44, 20, OLED_6X8, "R1 P2WIN!");

			  OLED_Update();
			}
			else if(State == 1)
			{
				OLED_Printf(44, 20, OLED_6X8, "R2 P2WIN!");

			  OLED_Update();
			}
			else if(State == 2)
			{
				OLED_Printf(44, 20, OLED_6X8, "R3 P2WIN!");

			  OLED_Update();
			}
			else if(State == 3)
			{
				OLED_Printf(44, 20, OLED_6X8, "R4 P2WIN!");

			  OLED_Update();
			}
			else if(State == 4)
			{
				OLED_Printf(44, 20, OLED_6X8, "R5 P2WIN!");

			  OLED_Update();
			}

			AOLED_Clear();
			if(State == 0)
			{
				AOLED_Printf(44, 20, AOLED_6X8, "R1 P2WIN!");

			  AOLED_Update();
			}
			else if(State == 1)
			{
				AOLED_Printf(44, 20, AOLED_6X8, "R2 P2WIN!");

			  AOLED_Update();
			}
			else if(State == 2)
			{
				AOLED_Printf(44, 20, AOLED_6X8, "R3 P2WIN!");

			  AOLED_Update();
			}
			else if(State == 3)
			{
				AOLED_Printf(44, 20, AOLED_6X8, "R4 P2WIN!");

			  AOLED_Update();
			}
			else if(State == 4)
			{
				AOLED_Printf(44, 20, AOLED_6X8, "R5 P2WIN!");

			  AOLED_Update();
			}

		}
		}
		if(State == 5)
		{
			AOLED_Clear();
			AOLED_Printf(46, 20, AOLED_6X8, "GameOver");
			AOLED_Printf(46, 40, AOLED_6X8, " %d : %d",winround,Awinround);
			AOLED_Update();

			OLED_Clear();
			OLED_Printf(46, 20, OLED_6X8, "GameOver");
			OLED_Printf(46, 40, OLED_6X8, " %d : %d",winround,Awinround);
			OLED_Update();
			if(winround > Awinround)
			{

				LoadWinRecord(&record);

				State ++;
				record.player1Wins ++;

				Wifi_SendData(record.player1Wins , record.player2Wins);
				SaveWinRecord(&record);
			}
			else if(winround < Awinround )
			{

				LoadWinRecord(&record);

				State ++;
				record.player2Wins ++;

				Wifi_SendData(record.player1Wins , record.player2Wins);
					SaveWinRecord(&record);
			}

		}
		if(Whowin == 1 || Whowin == 2)
		{

			  HAL_Delay(1500);
				State ++;
			  Whowin = 0;
				winflag = 0;
				people1X = 0;
				people1Y = 46;
				people2X = 0;
				people2Y = 46;

		}

    osDelay(1);
  }
  /* USER CODE END Judgewhowin */
}

void Playmusic(void const * argument) //播放音乐
{
  /* USER CODE BEGIN Playmusic */
	 //uint16_t PWM = 0;
  /* Infinite loop */
  for(;;)
  {
		if(PWM > 100)
		{
			PWM = 100;
		}
		if(PWM <= 0)
		{
			PWM = 0;
		}
		__HAL_TIM_SET_COMPARE(&htim1,TIM_CHANNEL_4,PWM);
    PWM += Encoder_Get();

		Buzzer_SetFrequency(261);
    osDelay(200);
    Buzzer_SetFrequency(392);
    osDelay(200);
   	Buzzer_SetFrequency(440);
    osDelay(200);
    Buzzer_SetFrequency(261);
    osDelay(200);

    osDelay(1);
  }
  /* USER CODE END Playmusic */
}

void GetwakeupFlag(void const * argument) //获取唤醒标志任务
{
  /* USER CODE BEGIN GetwakeupFlag */
  /* Infinite loop */
  for(;;)
  {
		if(Nowwakeup_Time - Lastwakeup_Time > 10000)
		{
			wakeup_flag = 0;
			OLED_Clear();
			OLED_Update();
			AOLED_Clear();
			AOLED_Update();
		}
		if(wakeup_flag == 0)
		{
			HAL_UART_Receive_IT(&huart3,Buffer,sizeof(Buffer));
			if(Buffer[0] == 0x20 && Buffer[1] == 0x01 && Buffer[2] == 0x01&& Buffer[3] == 0x61)
				{

						wakeup_flag = 1;
						Lastwakeup_Time = Nowwakeup_Time;
						memset(Buffer, 0, sizeof(Buffer));

				}

		}
		if(wakeup_flag == 0)
		{
			HAL_UART_Receive_IT(&huart1,ABuffer,sizeof(ABuffer));
			if(ABuffer[0] == 0x20 && ABuffer[1] == 0x02 && ABuffer[2] == 0x01 && ABuffer[3] == 0x61)
				{

						wakeup_flag = 1;
						Lastwakeup_Time = Nowwakeup_Time;
						memset(ABuffer, 0, sizeof(ABuffer));

				}

		}

    osDelay(1);
  }
  /* USER CODE END GetwakeupFlag */
}

/* USER CODE BEGIN Application */
uint8_t JudgePlace(uint8_t peopleX, uint8_t peopleY ,Information *platforms ,uint8_t platformCount) //判断平台函数
{
		const uint8_t peopleFeetY = peopleY + 9; // 人物底部Y坐标
    const uint8_t peopleLeft = peopleX + 1;
    const uint8_t peopleRight = peopleX + 8;
		if(OnePState == 0)
		{
				if (peopleFeetY <= OPM_moveplatform.y  && peopleFeetY >= OPM_moveplatform.y - 1 ){
            if ((peopleRight - 128 > OPM_moveplatform.x) && (peopleLeft - 128 < OPM_moveplatform.x + OPM_moveplatform.width)) {
                return 1;
            }
					}
		}
		if(State == 4)
		{
				if (peopleFeetY <= moveplatform.y  && peopleFeetY >= moveplatform.y - 1 ){
            if ((peopleRight > moveplatform.x) && (peopleLeft < moveplatform.x + moveplatform.width)) {
                return 1;
            }
					}
		}
    for (uint8_t i = 0; i < platformCount; i++) {
        Information p = platforms[i];
			if (peopleFeetY <= p.y  && peopleFeetY >= p.y - 1 ){
            if ((peopleRight > p.x) && (peopleLeft < p.x + p.width)) {
                return 1;
            }
        }

    }
    return 0;
}

uint8_t JudgeThorns(uint8_t peopleX, uint8_t peopleY) //判断刺函数
{
		const uint8_t peopleFeetY = peopleY + 9; // 人物底部Y坐标
    const uint8_t peopleLeft = peopleX;
    const uint8_t peopleRight = peopleX + 16;
		if(State == 0)
		{
			return 0;
		}
		else if(State == 1)
		{
			return 0;
		}
		else if(State == 2)
		{
			for (uint8_t i = 0; i < thornCount; i++) {
        Information p = thorns4[i];
			if (peopleFeetY < p.y - 3 && peopleY > 25){
            if ((peopleRight > p.x) && (peopleLeft < p.x )) {
                return 1;
            }
        }
     }
		}
		else if(State == 3)
		{
			for (uint8_t i = 0; i < thornCount; i++) {
        Information p = thorns1[i];
			if (peopleFeetY < p.y - 3  && peopleY > 42){
            if ((peopleRight > p.x) && (peopleLeft < p.x )) {
                return 1;
            }
        }
     }
		}
		else if(State == 4)
		{
			for (uint8_t i = 0; i < sizeof(thorns5)/sizeof(thorns5[0]); i++) {
        Information p = thorns5[i];
			if (peopleFeetY < p.y - 3  && peopleY > 33){
            if ((peopleRight > p.x) && (peopleLeft < p.x )) {
                return 1;
            }
        }
     }
		}
    return 0;

}
uint8_t Judgethrough (uint8_t peopleX, uint8_t peopleY ,Information *platforms ,uint8_t platformCount) //判断能否向前走函数
{

const uint16_t peopleFeetY = peopleY + 16;
	const uint16_t peoplehead = peopleY + 1 ;
	 const uint16_t peopleRight = peopleX + 16;

	 for (uint8_t i = 0; i < platformCount; i++) {
        Information p = platforms[i];

				if(p.y + 8 > peoplehead && peopleFeetY >= p.y + 10)
				{
					if(peopleRight > p.x && p.x > peopleX)
					{
						return 1;
					}
				}

	 }
	 return 0;
}

void LoadWinRecord(WinRecord *record) //读flash函数
{
    // 直接读取Flash地址的数据
    WinRecord *flashData = (WinRecord*)FLASH_SAVE_ADDR;
    memcpy(record, flashData, sizeof(WinRecord));
}
void SaveWinRecord(WinRecord *record) //存储flash函数
{
    // 擦除Flash页（必需）
    FLASH_EraseInitTypeDef eraseConfig;
    uint32_t pageError;
    eraseConfig.TypeErase = FLASH_TYPEERASE_PAGES;
    eraseConfig.PageAddress = FLASH_SAVE_ADDR;
    eraseConfig.NbPages = 1;

    HAL_FLASH_Unlock();
    HAL_FLASHEx_Erase(&eraseConfig, &pageError); // 擦除整个页

    // 按半字（16位）写入数据
    uint16_t *pData = (uint16_t*)record;
    for (uint16_t i = 0; i < sizeof(WinRecord); i += 2) {  // 共写入2次
        HAL_FLASH_Program(FLASH_TYPEPROGRAM_HALFWORD,
                         FLASH_SAVE_ADDR + i,
                         pData[i/2]);
    }

    HAL_FLASH_Lock();
}
void HAL_GPIO_EXTI_Callback(uint16_t GPIO_Pin) //外部中断唤醒低功耗模式
{
    if (GPIO_Pin == GPIO_PIN_12)
    {
        LowPowerFlag = 0;
    }
}

/* USER CODE END Application */
